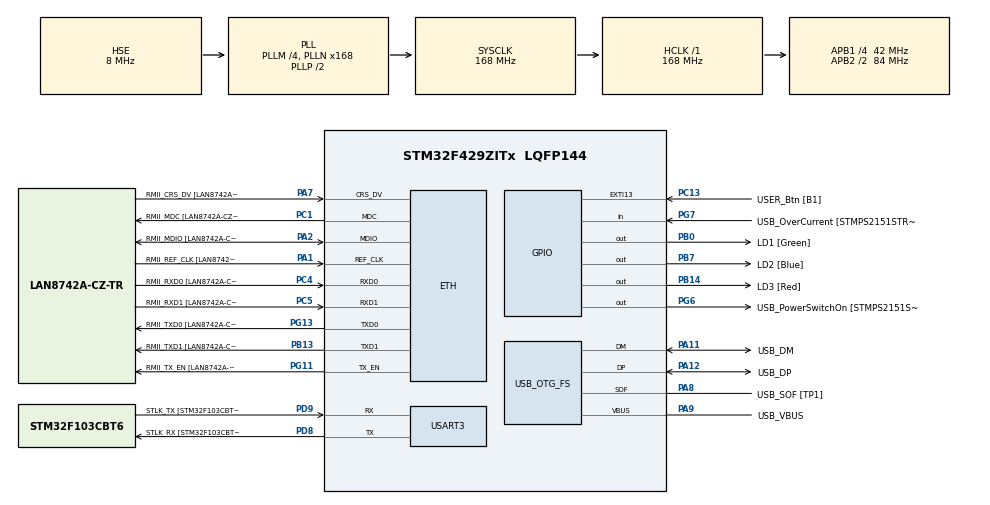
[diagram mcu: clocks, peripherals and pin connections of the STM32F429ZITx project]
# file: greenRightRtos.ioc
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ETH.MediaInterface=HAL_ETH_RMII_MODE
ETH.PHY_Name=LAN8742A_PHY_ADDRESS
ETH.PHY_Value=0
ETH.PhyAddress=0
FREERTOS.Tasks01=defaultTask,24,128,StartDefaultTask,Default,NULL,Dynamic,NULL,NULL
Mcu.Family=STM32F4
Mcu.Name=STM32F429ZITx
Mcu.Package=LQFP144
NVIC.PriorityGroup=NVIC_PRIORITYGROUP_4
PA1.GPIO_Label=RMII_REF_CLK [LAN8742A-CZ-TR_REFCLK0]
PA1.Mode=RMII
PA1.Signal=ETH_REF_CLK
PA10.GPIO_Label=USB_ID
PA10.Signal=USB_OTG_FS_ID
PA11.GPIO_Label=USB_DM
PA11.Mode=Device_Only
PA11.Signal=USB_OTG_FS_DM
PA12.GPIO_Label=USB_DP
PA12.Mode=Device_Only
PA12.Signal=USB_OTG_FS_DP
PA13.GPIO_Label=TMS
PA13.Mode=Serial_Wire
PA13.Signal=SYS_JTMS-SWDIO
PA14.GPIO_Label=TCK
PA14.Mode=Serial_Wire
PA14.Signal=SYS_JTCK-SWCLK
PA2.GPIO_Label=RMII_MDIO [LAN8742A-CZ-TR_MDIO]
PA2.Mode=RMII
PA2.Signal=ETH_MDIO
PA7.GPIO_Label=RMII_CRS_DV [LAN8742A-CZ-TR_CRS_DV]
PA7.Mode=RMII
PA7.Signal=ETH_CRS_DV
PA8.GPIO_Label=USB_SOF [TP1]
PA8.Mode=Activate_SOF_FS
PA8.Signal=USB_OTG_FS_SOF
PA9.GPIO_Label=USB_VBUS
PA9.Mode=Activate_VBUS
PA9.Signal=USB_OTG_FS_VBUS
PB0.GPIO_Label=LD1 [Green]
PB0.Signal=GPIO_Output
PB13.GPIO_Label=RMII_TXD1 [LAN8742A-CZ-TR_TXD1]
PB13.Mode=RMII
PB13.Signal=ETH_TXD1
PB14.GPIO_Label=LD3 [Red]
PB14.Signal=GPIO_Output
PB7.GPIO_Label=LD2 [Blue]
PB7.Signal=GPIO_Output
PC1.GPIO_Label=RMII_MDC [LAN8742A-CZ-TR_MDC]
PC1.Mode=RMII
PC1.Signal=ETH_MDC
PC13.GPIO_Label=USER_Btn [B1]
PC13.Signal=GPXTI13
PC14/OSC32_IN.Mode=LSE-External-Oscillator
PC14/OSC32_IN.Signal=RCC_OSC32_IN
PC15/OSC32_OUT.Mode=LSE-External-Oscillator
PC15/OSC32_OUT.Signal=RCC_OSC32_OUT
PC4.GPIO_Label=RMII_RXD0 [LAN8742A-CZ-TR_RXD0]
PC4.Mode=RMII
PC4.Signal=ETH_RXD0
PC5.GPIO_Label=RMII_RXD1 [LAN8742A-CZ-TR_RXD1]
PC5.Mode=RMII
PC5.Signal=ETH_RXD1
PD8.GPIO_Label=STLK_RX [STM32F103CBT6_PA3]
PD8.Mode=Asynchronous
PD8.Signal=USART3_TX
PD9.GPIO_Label=STLK_TX [STM32F103CBT6_PA2]
PD9.Mode=Asynchronous
PD9.Signal=USART3_RX
PG11.GPIO_Label=RMII_TX_EN [LAN8742A-CZ-TR_TXEN]
PG11.Mode=RMII
PG11.Signal=ETH_TX_EN
PG13.GPIO_Label=RMII_TXD0 [LAN8742A-CZ-TR_TXD0]
PG13.Mode=RMII
PG13.Signal=ETH_TXD0
PG6.GPIO_Label=USB_PowerSwitchOn [STMPS2151STR_EN]
PG6.Signal=GPIO_Output
PG7.GPIO_Label=USB_OverCurrent [STMPS2151STR_FAULT]
PG7.Signal=GPIO_Input
PH0/OSC_IN.GPIO_Label=MCO [STM32F103CBT6_PA8]
PH0/OSC_IN.Mode=HSE-External-Clock-Source
PH0/OSC_IN.Signal=RCC_OSC_IN
PH1/OSC_OUT.Mode=HSE-External-Clock-Source
PH1/OSC_OUT.Signal=RCC_OSC_OUT
ProjectManager.HeapSize=0x200
ProjectManager.StackSize=0x400
ProjectManager.TargetToolchain=STM32CubeIDE
RCC.48MHZClocksFreq_Value=48000000
RCC.AHBFreq_Value=168000000
RCC.APB1CLKDivider=RCC_HCLK_DIV4
RCC.APB1Freq_Value=42000000
RCC.APB1TimFreq_Value=84000000
RCC.APB2CLKDivider=RCC_HCLK_DIV2
RCC.APB2Freq_Value=84000000
RCC.APB2TimCLKDivider=2
RCC.APB2TimFreq_Value=168000000
RCC.CortexFreq_Value=168000000
RCC.HCLKFreq_Value=168000000
RCC.HSE_VALUE=8000000
RCC.HSI_VALUE=16000000
RCC.PLLM=4
RCC.PLLMUL=RCC_PLL_MUL9
RCC.PLLN=168
RCC.PLLQ=7
RCC.PRESCALERUSB=RCC_USBCLKSOURCE_PLL_DIV1_5
RCC.SYSCLKFreq_VALUE=168000000
RCC.SYSCLKSource=RCC_SYSCLKSOURCE_PLLCLK
RCC.SYSCLKSourceVirtual=RCC_SYSCLKSOURCE_PLLCLK
RCC.USBFreq_Value=48000000
RCC.VCOOutputFreq_Value=336000000
USART3.VirtualMode=VM_ASYNC
USB_OTG_FS.VirtualMode=Device_Only
VP_FREERTOS_VS_CMSIS_V2.Mode=CMSIS_V2
board=NUCLEO-F429ZI

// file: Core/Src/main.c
/* USER CODE BEGIN Header */
/**
  ******************************************************************************
  * @file           : main.c
  * @brief          : Main program body
  ******************************************************************************
  * @attention
  *
  * Copyright (c) 2026 STMicroelectronics.
  * All rights reserved.
  *
  * This software is licensed under terms that can be found in the LICENSE file
  * in the root directory of this software component.
  * If no LICENSE file comes with this software, it is provided AS-IS.
  *
  ******************************************************************************
  */
/* USER CODE END Header */
#include "main.h"
#include "string.h"
#include "cmsis_os.h"
#include "common.h"
#include "turnJudgeTask.h"
#include "display_tasks.h"
#include "personDetect.h"
#include "lcd.h"
#include "can_rx_task.h"
#include "debug_uart.h"
#include "buzzer.h"
#include "buzzerTask.h"
#include "time_sync.h"

ETH_TxPacketConfig TxConfig;
ETH_DMADescTypeDef  DMARxDscrTab[ETH_RX_DESC_CNT]; /* Ethernet Rx DMA Descriptors */
ETH_DMADescTypeDef  DMATxDscrTab[ETH_TX_DESC_CNT]; /* Ethernet Tx DMA Descriptors */

ETH_HandleTypeDef heth;

UART_HandleTypeDef huart3;

PCD_HandleTypeDef hpcd_USB_OTG_FS;

/* Definitions for defaultTask */
osThreadId_t defaultTaskHandle;
const osThreadAttr_t defaultTask_attributes = {
  .name = "defaultTask",
  .stack_size = 128 * 4,
  .priority = (osPriority_t) osPriorityNormal,
};

void SystemClock_Config(void);
static void MX_GPIO_Init(void);
static void MX_ETH_Init(void);
static void MX_USART3_UART_Init(void);
static void MX_USB_OTG_FS_PCD_Init(void);
void StartDefaultTask(void *argument);

/* USER CODE BEGIN 0 */
volatile  int8_t maneuver; //0: 吏곸쭊, 1:?占쏀쉶?? 2:鍮꾨낫??醫뚰쉶?? 3:?占쎈컲 醫뚰쉶??(-1占?珥덇린??
volatile  uint8_t pedFlag; ///* 00 ?占쎌쓬 / 11 (??占쏙옙?占쎈줎 3) ?占쎌쓬 / 01(??占쏙옙?占쎈줎 1) AI ?占쎌떇遺덌옙? (0???占쎈땲占?寃쎄퀬) (0?占쎈줈 珥덇린??*/
EgoVehicle ego;
CandidateVehicle candidateVehicle;
TrafficLight tl = { .type = TL_NONE, .color = SIG_RED, .time_left = 0, .cz_x = 0, .cz_y = 0 }; //LCD?占쎈룄 ?占쎌썙吏占?吏꾩엯?占쏙옙? ?占쎈떒?占쎈븣???占쎌엫

SemaphoreHandle_t   tlDisplaySem  = NULL;
SemaphoreHandle_t   lcdMutex      = NULL;
SemaphoreHandle_t   turnJudgeSem  = NULL; //judgement task 源⑥슦????
SemaphoreHandle_t   buzzerSem     = NULL; //buzzer task 源⑥슦????
QueueHandle_t       dicisionQueue = NULL; //(Dicision 援ъ“占??占쎌씠 ?占쎌뼱占?

osThreadId_t 		 JudgeTaskHandle           = NULL;
osThreadId_t         TlDisplayTaskHandle       = NULL;
osThreadId_t         DicisionDisplayTaskHandle = NULL;
osThreadId_t         canRxTaskHandle = NULL;

/* USER CODE END 0 */

int main(void)
{

  /* MCU Configuration--------------------------------------------------------*/

  /* Reset of all peripherals, Initializes the Flash interface and the Systick. */
  HAL_Init();

  /* Configure the system clock */
  SystemClock_Config();

  /* Initialize all configured peripherals */
  MX_GPIO_Init();
  MX_USART3_UART_Init();
  LOG_INFO("USART3 log ready!\n");
  Buzzer_GPIO_Init();
  TIM7_Buzzer_Init();
  LOG_INFO("Buzzer init ok\n");
  //MX_ETH_Init();
  LOG_INFO("ETH init ok\n");
  MX_USB_OTG_FS_PCD_Init();
  LOG_INFO("USB init ok\n");
  /* USER CODE BEGIN 2 */
  LCD_Init();
  LOG_INFO("LCD init ok\n");
  /* USER CODE END 2 */

  /* Init scheduler */
  osKernelInitialize();

  /* USER CODE BEGIN RTOS_MUTEX */
  /* add mutexes, ... */
  lcdMutex = xSemaphoreCreateMutex();
  /* USER CODE END RTOS_MUTEX */

  /* USER CODE BEGIN RTOS_SEMAPHORES */
  /* add semaphores, ... */
  turnJudgeSem = xSemaphoreCreateBinary();
  tlDisplaySem = xSemaphoreCreateBinary();
  buzzerSem = xSemaphoreCreateBinary();
  PersonFlag_Init();
  LOG_INFO("RTOS BOOT START\n");
//  maneuver = MANEUVER_RIGHT_TURN;
//  candidateVehicle.type = CAND_NONE;

  /* USER CODE END RTOS_SEMAPHORES */

  /* USER CODE BEGIN RTOS_QUEUES */
  /* add queues, ... */
  dicisionQueue = xQueueCreate(DICISION_QUEUE_LEN, sizeof(Dicision));
  /* USER CODE END RTOS_QUEUES */

  /* Create the thread(s) */
  /* creation of defaultTask */

  defaultTaskHandle = osThreadNew(StartDefaultTask, NULL, &defaultTask_attributes);
  DisplayTasks_Init();
  TurnJudgeTask_Init();
  CanRxTask_Init();
  TimeSyncTask_Init();
  BuzzerTask_Init();

  /* Start scheduler */
  osKernelStart();

  /* We should never get here as control is now taken by the scheduler */

  /* Infinite loop */
  while (1)
  {

  }
}

void SystemClock_Config(void)
{
  RCC_OscInitTypeDef RCC_OscInitStruct = {0};
  RCC_ClkInitTypeDef RCC_ClkInitStruct = {0};

  /** Configure the main internal regulator output voltage
  */
  __HAL_RCC_PWR_CLK_ENABLE();
  __HAL_PWR_VOLTAGESCALING_CONFIG(PWR_REGULATOR_VOLTAGE_SCALE1);

  /** Initializes the RCC Oscillators according to the specified parameters
  * in the RCC_OscInitTypeDef structure.
  */
  RCC_OscInitStruct.OscillatorType = RCC_OSCILLATORTYPE_HSE;
  RCC_OscInitStruct.HSEState = RCC_HSE_BYPASS;
  RCC_OscInitStruct.PLL.PLLState = RCC_PLL_ON;
  RCC_OscInitStruct.PLL.PLLSource = RCC_PLLSOURCE_HSE;
  RCC_OscInitStruct.PLL.PLLM = 4;
  RCC_OscInitStruct.PLL.PLLN = 168;
  RCC_OscInitStruct.PLL.PLLP = RCC_PLLP_DIV2;
  RCC_OscInitStruct.PLL.PLLQ = 7;
  if (HAL_RCC_OscConfig(&RCC_OscInitStruct) != HAL_OK)
  {
    Error_Handler();
  }

  /** Initializes the CPU, AHB and APB buses clocks
  */
  RCC_ClkInitStruct.ClockType = RCC_CLOCKTYPE_HCLK|RCC_CLOCKTYPE_SYSCLK
                              |RCC_CLOCKTYPE_PCLK1|RCC_CLOCKTYPE_PCLK2;
  RCC_ClkInitStruct.SYSCLKSource = RCC_SYSCLKSOURCE_PLLCLK;
  RCC_ClkInitStruct.AHBCLKDivider = RCC_SYSCLK_DIV1;
  RCC_ClkInitStruct.APB1CLKDivider = RCC_HCLK_DIV4;
  RCC_ClkInitStruct.APB2CLKDivider = RCC_HCLK_DIV2;

  if (HAL_RCC_ClockConfig(&RCC_ClkInitStruct, FLASH_LATENCY_5) != HAL_OK)
  {
    Error_Handler();
  }
}

static void MX_ETH_Init(void)
{

   static uint8_t MACAddr[6];

  heth.Instance = ETH;
  MACAddr[0] = 0x00;
  MACAddr[1] = 0x80;
  MACAddr[2] = 0xE1;
  MACAddr[3] = 0x00;
  MACAddr[4] = 0x00;
  MACAddr[5] = 0x00;
  heth.Init.MACAddr = &MACAddr[0];
  heth.Init.MediaInterface = HAL_ETH_RMII_MODE;
  heth.Init.TxDesc = DMATxDscrTab;
  heth.Init.RxDesc = DMARxDscrTab;
  heth.Init.RxBuffLen = 1524;

  if (HAL_ETH_Init(&heth) != HAL_OK)
  {
    Error_Handler();
  }

  memset(&TxConfig, 0 , sizeof(ETH_TxPacketConfig));
  TxConfig.Attributes = ETH_TX_PACKETS_FEATURES_CSUM | ETH_TX_PACKETS_FEATURES_CRCPAD;
  TxConfig.ChecksumCtrl = ETH_CHECKSUM_IPHDR_PAYLOAD_INSERT_PHDR_CALC;
  TxConfig.CRCPadCtrl = ETH_CRC_PAD_INSERT;

}

static void MX_USART3_UART_Init(void)
{

  huart3.Instance = USART3;
  huart3.Init.BaudRate = 115200;
  huart3.Init.WordLength = UART_WORDLENGTH_8B;
  huart3.Init.StopBits = UART_STOPBITS_1;
  huart3.Init.Parity = UART_PARITY_NONE;
  huart3.Init.Mode = UART_MODE_TX_RX;
  huart3.Init.HwFlowCtl = UART_HWCONTROL_NONE;
  huart3.Init.OverSampling = UART_OVERSAMPLING_16;
  if (HAL_UART_Init(&huart3) != HAL_OK)
  {
    Error_Handler();
  }

}

static void MX_USB_OTG_FS_PCD_Init(void)
{

  hpcd_USB_OTG_FS.Instance = USB_OTG_FS;
  hpcd_USB_OTG_FS.Init.dev_endpoints = 4;
  hpcd_USB_OTG_FS.Init.speed = PCD_SPEED_FULL;
  hpcd_USB_OTG_FS.Init.dma_enable = DISABLE;
  hpcd_USB_OTG_FS.Init.phy_itface = PCD_PHY_EMBEDDED;
  hpcd_USB_OTG_FS.Init.Sof_enable = ENABLE;
  hpcd_USB_OTG_FS.Init.low_power_enable = DISABLE;
  hpcd_USB_OTG_FS.Init.lpm_enable = DISABLE;
  hpcd_USB_OTG_FS.Init.vbus_sensing_enable = ENABLE;
  hpcd_USB_OTG_FS.Init.use_dedicated_ep1 = DISABLE;
  if (HAL_PCD_Init(&hpcd_USB_OTG_FS) != HAL_OK)
  {
    Error_Handler();
  }

}

static void MX_GPIO_Init(void)
{
  GPIO_InitTypeDef GPIO_InitStruct = {0};

  /* GPIO Ports Clock Enable */
  __HAL_RCC_GPIOC_CLK_ENABLE();
  __HAL_RCC_GPIOH_CLK_ENABLE();
  __HAL_RCC_GPIOA_CLK_ENABLE();
  __HAL_RCC_GPIOB_CLK_ENABLE();
  __HAL_RCC_GPIOD_CLK_ENABLE();
  __HAL_RCC_GPIOG_CLK_ENABLE();

  /*Configure GPIO pin Output Level */
  HAL_GPIO_WritePin(GPIOB, LD1_Pin|LD3_Pin|LD2_Pin, GPIO_PIN_RESET);

  /*Configure GPIO pin Output Level */
  HAL_GPIO_WritePin(USB_PowerSwitchOn_GPIO_Port, USB_PowerSwitchOn_Pin, GPIO_PIN_RESET);

  /*Configure GPIO pin : USER_Btn_Pin */
  GPIO_InitStruct.Pin = USER_Btn_Pin;
  GPIO_InitStruct.Mode = GPIO_MODE_IT_RISING;
  GPIO_InitStruct.Pull = GPIO_NOPULL;
  HAL_GPIO_Init(USER_Btn_GPIO_Port, &GPIO_InitStruct);

  /*Configure GPIO pins : LD1_Pin LD3_Pin LD2_Pin */
  GPIO_InitStruct.Pin = LD1_Pin|LD3_Pin|LD2_Pin;
  GPIO_InitStruct.Mode = GPIO_MODE_OUTPUT_PP;
  GPIO_InitStruct.Pull = GPIO_NOPULL;
  GPIO_InitStruct.Speed = GPIO_SPEED_FREQ_LOW;
  HAL_GPIO_Init(GPIOB, &GPIO_InitStruct);

  /*Configure GPIO pin : USB_PowerSwitchOn_Pin */
  GPIO_InitStruct.Pin = USB_PowerSwitchOn_Pin;
  GPIO_InitStruct.Mode = GPIO_MODE_OUTPUT_PP;
  GPIO_InitStruct.Pull = GPIO_NOPULL;
  GPIO_InitStruct.Speed = GPIO_SPEED_FREQ_LOW;
  HAL_GPIO_Init(USB_PowerSwitchOn_GPIO_Port, &GPIO_InitStruct);

  /*Configure GPIO pin : USB_OverCurrent_Pin */
  GPIO_InitStruct.Pin = USB_OverCurrent_Pin;
  GPIO_InitStruct.Mode = GPIO_MODE_INPUT;
  GPIO_InitStruct.Pull = GPIO_NOPULL;
  HAL_GPIO_Init(USB_OverCurrent_GPIO_Port, &GPIO_InitStruct);

}

void StartDefaultTask(void *argument)
{
  for(;;)
  {
    osDelay(1);
  }
}

void Error_Handler(void)
{
  __disable_irq();
  while (1)
  {
  }
}
